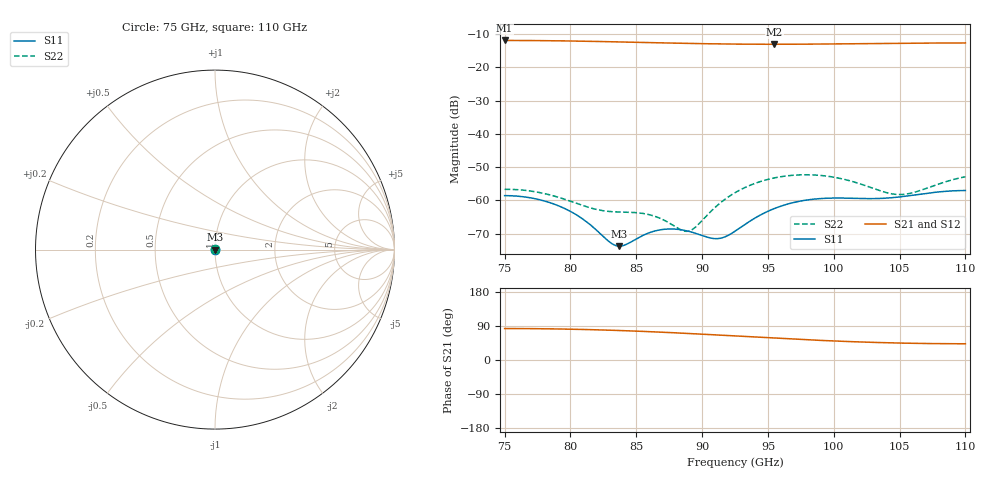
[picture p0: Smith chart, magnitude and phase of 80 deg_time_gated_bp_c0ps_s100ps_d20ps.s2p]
# Hz S RI R 50.000000
! Metas.Vna.Tools, 2.4.7724.19584
! Metas.Vna.Data, 2.4.7724.19560
! Created: UTC 2021.04.29 12:40:11
! FREQ  re:S1,1  im:S1,1  re:S2,1  im:S2,1  re:S1,2  im:S1,2  re:S2,2  im:S2,2
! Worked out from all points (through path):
!   1401 points, 75 GHz to 110 GHz, reference 50 ohm
!   highest |S21| = -11.86 dB at 75 GHz (marker M1); lowest = -13.0 dB at 95.47 GHz (marker M2)
!   lowest |S11| = -73.8 dB at 83.72 GHz (marker M3), VSWR 1.00, Z = 50 + j0.0085 ohm
!   |S11| at or under -10 dB: start of sweep to end of sweep
!   |S22| runs from -69.3 to -52.3 dB; largest |S21 - S12| = 0.0082
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7.5e10  -0.000402 -0.00111  0.0309 0.2535  0.0391 0.2527  0.000392 0.00141
7.66e10  -0.000399 -0.00104  0.0317 0.2529  0.0398 0.2521  2.27e-05 0.00141
7.815e10  -0.000389 -0.000878  0.0337 0.2513  0.0418 0.2504  -0.000311 0.00121
7.9575e10  -0.000368 -0.000655  0.0367 0.2488  0.0446 0.248  -0.000544 0.00088
8.085e10  -0.000333 -0.000422  0.0403 0.2459  0.0481 0.2451  -0.000667 0.000522
8.3025e10  -0.00023 -2.53e-05  0.0482 0.2396  0.0556 0.2389  -0.000672 -8.3e-05
8.3725e10  -0.000185 8.51e-05  0.0512 0.2373  0.0585 0.2366  -0.000622 -0.000241
8.5425e10  -5.91e-05 0.000285  0.0592 0.2311  0.0661 0.2305  -0.000412 -0.000486
8.6675e10  4.02e-05 0.000352  0.0658 0.2262  0.0724 0.2256  -0.000196 -0.000513
8.8425e10  0.000166 0.000319  0.0757 0.2189  0.0818 0.2183  0.000157 -0.000319
8.905e10  0.000202 0.000271  0.0794 0.2162  0.0853 0.2157  0.00029 -0.000191
8.9575e10  0.000227 0.000218  0.0825 0.2139  0.0884 0.2134  0.000402 -6.29e-05
9.1075e10  0.000264 9.84e-06  0.0918 0.2075  0.0972 0.207  0.000717 0.000378
9.1725e10  0.000262 -9.97e-05  0.0959 0.2047  0.101 0.2042  0.000845 0.00059
9.25e10  0.000244 -0.000239  0.1007 0.2014  0.1057 0.2009  0.000987 0.000847
9.39e10  0.000169 -0.000495  0.1096 0.1956  0.1141 0.1951  0.0012 0.00129
9.5475e10  2.21e-05 -0.000749  0.1193 0.1893  0.1233 0.1889  0.00137 0.00169
9.835e10  -0.000357 -0.00097  0.1361 0.179  0.1393 0.1786  0.00134 0.00201
1.008e11  -0.000702 -0.000819  0.1487 0.1717  0.1512 0.1713  0.000923 0.00185
1.04175e11  -0.00106 -0.000209  0.1621 0.1643  0.1639 0.1638  -0.000179 0.00127
1.05775e11  -0.00117 0.000124  0.1666 0.1619  0.1681 0.1614  -0.000814 0.000973
1.1e11  -0.00127 0.000593  0.1717 0.1592  0.1729 0.1587  -0.00222 0.000418
